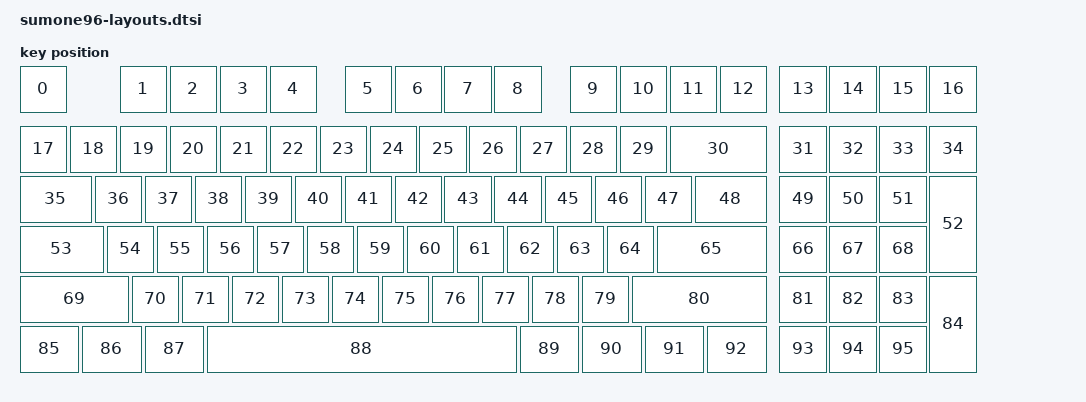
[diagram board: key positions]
#include <physical_layouts.dtsi>

/ {
    physical_layout0: physical_layout_0 {
        compatible = "zmk,physical-layout";
        display-name = "Default Layout";
        kscan = <&kscan0>;
        transform = <&default_transform>;
        keys  //                     w   h    x     y       rot   rx    ry
            = <&key_physical_attrs 100 100    0     0       0     0     0>
            , <&key_physical_attrs 100 100    200   0       0     0     0>
            , <&key_physical_attrs 100 100    300   0       0     0     0>
            , <&key_physical_attrs 100 100    400   0       0     0     0>
            , <&key_physical_attrs 100 100    500   0       0     0     0>
            , <&key_physical_attrs 100 100    650   0       0     0     0>
            , <&key_physical_attrs 100 100    750   0       0     0     0>
            , <&key_physical_attrs 100 100    850   0       0     0     0>
            , <&key_physical_attrs 100 100    950   0       0     0     0>
            , <&key_physical_attrs 100 100    1100  0       0     0     0>
            , <&key_physical_attrs 100 100    1200  0       0     0     0>
            , <&key_physical_attrs 100 100    1300  0       0     0     0>
            , <&key_physical_attrs 100 100    1400  0       0     0     0>
            , <&key_physical_attrs 100 100    1520  0       0     0     0>
            , <&key_physical_attrs 100 100    1620  0       0     0     0>
            , <&key_physical_attrs 100 100    1720  0       0     0     0>
            , <&key_physical_attrs 100 100    1820  0       0     0     0>
            , <&key_physical_attrs 100 100    0     120     0     0     0>
            , <&key_physical_attrs 100 100    100   120     0     0     0>
            , <&key_physical_attrs 100 100    200   120     0     0     0>
            , <&key_physical_attrs 100 100    300   120     0     0     0>
            , <&key_physical_attrs 100 100    400   120     0     0     0>
            , <&key_physical_attrs 100 100    500   120     0     0     0>
            , <&key_physical_attrs 100 100    600   120     0     0     0>
            , <&key_physical_attrs 100 100    700   120     0     0     0>
            , <&key_physical_attrs 100 100    800   120     0     0     0>
            , <&key_physical_attrs 100 100    900   120     0     0     0>
            , <&key_physical_attrs 100 100    1000  120     0     0     0>
            , <&key_physical_attrs 100 100    1100  120     0     0     0>
            , <&key_physical_attrs 100 100    1200  120     0     0     0>
            , <&key_physical_attrs 200 100    1300  120     0     0     0>
            , <&key_physical_attrs 100 100    1520  120     0     0     0>
            , <&key_physical_attrs 100 100    1620  120     0     0     0>
            , <&key_physical_attrs 100 100    1720  120     0     0     0>
            , <&key_physical_attrs 100 100    1820  120     0     0     0>
            , <&key_physical_attrs 150 100    0     220     0     0     0>
            , <&key_physical_attrs 100 100    150   220     0     0     0>
            , <&key_physical_attrs 100 100    250   220     0     0     0>
            , <&key_physical_attrs 100 100    350   220     0     0     0>
            , <&key_physical_attrs 100 100    450   220     0     0     0>
            , <&key_physical_attrs 100 100    550   220     0     0     0>
            , <&key_physical_attrs 100 100    650   220     0     0     0>
            , <&key_physical_attrs 100 100    750   220     0     0     0>
            , <&key_physical_attrs 100 100    850   220     0     0     0>
            , <&key_physical_attrs 100 100    950   220     0     0     0>
            , <&key_physical_attrs 100 100    1050  220     0     0     0>
            , <&key_physical_attrs 100 100    1150  220     0     0     0>
            , <&key_physical_attrs 100 100    1250  220     0     0     0>
            , <&key_physical_attrs 150 100    1350  220     0     0     0>
            , <&key_physical_attrs 100 100    1520  220     0     0     0>
            , <&key_physical_attrs 100 100    1620  220     0     0     0>
            , <&key_physical_attrs 100 100    1720  220     0     0     0>
            , <&key_physical_attrs 100 200    1820  220     0     0     0>
            , <&key_physical_attrs 175 100    0     320     0     0     0>
            , <&key_physical_attrs 100 100    175   320     0     0     0>
            , <&key_physical_attrs 100 100    275   320     0     0     0>
            , <&key_physical_attrs 100 100    375   320     0     0     0>
            , <&key_physical_attrs 100 100    475   320     0     0     0>
            , <&key_physical_attrs 100 100    575   320     0     0     0>
            , <&key_physical_attrs 100 100    675   320     0     0     0>
            , <&key_physical_attrs 100 100    775   320     0     0     0>
            , <&key_physical_attrs 100 100    875   320     0     0     0>
            , <&key_physical_attrs 100 100    975   320     0     0     0>
            , <&key_physical_attrs 100 100    1075  320     0     0     0>
            , <&key_physical_attrs 100 100    1175  320     0     0     0>
            , <&key_physical_attrs 225 100    1275  320     0     0     0>
            , <&key_physical_attrs 100 100    1520  320     0     0     0>
            , <&key_physical_attrs 100 100    1620  320     0     0     0>
            , <&key_physical_attrs 100 100    1720  320     0     0     0>
            , <&key_physical_attrs 225 100    0     420     0     0     0>
            , <&key_physical_attrs 100 100    225   420     0     0     0>
            , <&key_physical_attrs 100 100    325   420     0     0     0>
            , <&key_physical_attrs 100 100    425   420     0     0     0>
            , <&key_physical_attrs 100 100    525   420     0     0     0>
            , <&key_physical_attrs 100 100    625   420     0     0     0>
            , <&key_physical_attrs 100 100    725   420     0     0     0>
            , <&key_physical_attrs 100 100    825   420     0     0     0>
            , <&key_physical_attrs 100 100    925   420     0     0     0>
            , <&key_physical_attrs 100 100    1025  420     0     0     0>
            , <&key_physical_attrs 100 100    1125  420     0     0     0>
            , <&key_physical_attrs 275 100    1225  420     0     0     0>
            , <&key_physical_attrs 100 100    1520  420     0     0     0>
            , <&key_physical_attrs 100 100    1620  420     0     0     0>
            , <&key_physical_attrs 100 100    1720  420     0     0     0>
            , <&key_physical_attrs 100 200    1820  420     0     0     0>
            , <&key_physical_attrs 125 100    0     520     0     0     0>
            , <&key_physical_attrs 125 100    125   520     0     0     0>
            , <&key_physical_attrs 125 100    250   520     0     0     0>
            , <&key_physical_attrs 625 100    375   520     0     0     0>
            , <&key_physical_attrs 125 100    1000  520     0     0     0>
            , <&key_physical_attrs 125 100    1125  520     0     0     0>
            , <&key_physical_attrs 125 100    1250  520     0     0     0>
            , <&key_physical_attrs 125 100    1375  520     0     0     0>
            , <&key_physical_attrs 100 100    1520  520     0     0     0>
            , <&key_physical_attrs 100 100    1620  520     0     0     0>
            , <&key_physical_attrs 100 100    1720  520     0     0     0>
            ;
    };
};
